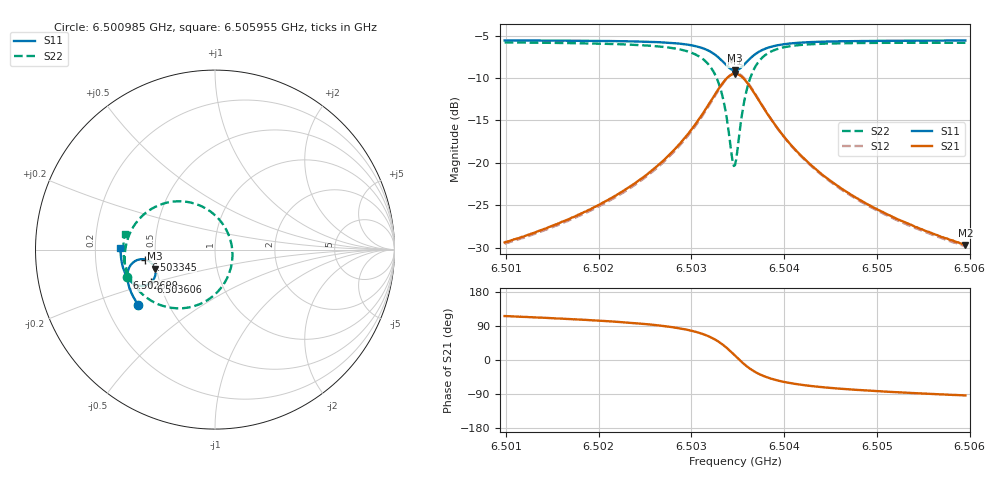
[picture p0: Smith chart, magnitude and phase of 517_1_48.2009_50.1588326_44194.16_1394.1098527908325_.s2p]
#  HZ  S  RI  R  50.00
! Rohde & Schwarz Vector Network Analyzer
! Rohde-Schwarz,ZNB20-2Port,1311601062101988,3.16
! Created: UTC 3/20/2024, 11:59:12 AM
! freq[Hz]  re:S11  im:S11  re:S21  im:S21  re:S12  im:S12  re:S22  im:S22
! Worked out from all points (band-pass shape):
!   401 points, 6.500985 GHz to 6.505955 GHz, reference 50 ohm
!   highest |S21| = -9.49 dB at 6.50347 GHz (marker M1); lowest = -29.7 dB at 6.505955 GHz (marker M2)
!   |S21| within 3 dB of the highest: 6.503222 GHz to 6.503719 GHz (496.9 kHz wide, 0.00764 % of centre)
!   lowest |S11| = -9.1 dB at 6.50347 GHz (marker M3), VSWR 2.08, Z = 24.5 - j5.88 ohm
!   |S11| at or under -10 dB: nowhere
!   |S22| runs from -20.4 to -5.8 dB; largest |S21 - S12| = 0.011
!   S11 on the Smith chart (normalised r, x): 6.500985 GHz: 0.34, -0.29; 6.502699 GHz: 0.33, -0.14; 6.503345 GHz: 0.44, -0.06; 6.503606 GHz: 0.45, -0.19; 6.505955 GHz: 0.31, +0.01
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6.5009848e9  -0.4276 -0.3083  -0.0148 0.0305  -0.0133 0.0305  -0.4903 -0.1523
6.5018172e9  -0.4633 -0.2465  -0.0143 0.0484  -0.0119 0.0479  -0.5031 -0.0635
6.5022769e9  -0.4795 -0.2055  -0.0111 0.0681  -0.00824 0.067  -0.4997 0.00251
6.5026496e9  -0.4882 -0.1638  -0.00206 0.0978  0.00138 0.0955  -0.4798 0.0777
6.5026993e9  -0.4886 -0.1572  0.000495 0.1034  0.00405 0.101  -0.4744 0.0904
6.5029354e9  -0.4854 -0.1205  0.0228 0.1401  0.0264 0.1359  -0.4277 0.1643
6.5030969e9  -0.4711 -0.0883  0.0616 0.1757  0.0642 0.1702  -0.3524 0.2277
6.503246e9  -0.434 -0.0584  0.1424 0.2047  0.1429 0.1988  -0.2056 0.2692
6.5033454e9  -0.3882 -0.0552  0.2328 0.1886  0.2328 0.1844  -0.049 0.2278
6.5034324e9  -0.3454 -0.0836  0.3106 0.1153  0.3132 0.1117  0.0754 0.0836
6.5034572e9  -0.3374 -0.0976  0.324 0.0839  0.3274 0.0796  0.0927 0.0244
6.5034696e9  -0.3345 -0.1053  0.3284 0.0672  0.3322 0.0623  0.0967 -0.00678
6.5034945e9  -0.3314 -0.1213  0.3322 0.033  0.3363 0.0268  0.0947 -0.0694
6.5035318e9  -0.3334 -0.1453  0.3252 -0.017  0.329 -0.0252  0.0683 -0.1575
6.5036063e9  -0.3552 -0.1821  0.2793 -0.093  0.2796 -0.1038  -0.0401 -0.2801
6.5037181e9  -0.4005 -0.2021  0.1932 -0.1384  0.1884 -0.1478  -0.2144 -0.3271
6.5038796e9  -0.4475 -0.1927  0.1099 -0.1348  0.1033 -0.1399  -0.3643 -0.2793
6.5040536e9  -0.4754 -0.1712  0.0647 -0.1143  0.0587 -0.1165  -0.4375 -0.2133
6.5043021e9  -0.4962 -0.1414  0.0344 -0.0893  0.0297 -0.0899  -0.4813 -0.1404
6.5046624e9  -0.5116 -0.1033  0.0155 -0.0662  0.0123 -0.066  -0.5037 -0.0672
6.5051345e9  -0.5214 -0.0592  0.00515 -0.0488  0.00286 -0.0482  -0.5104 0.000697
6.5059545e9  -0.5265 0.0104  -0.002 -0.0327  -0.00327 -0.0321  -0.5029 0.0879
